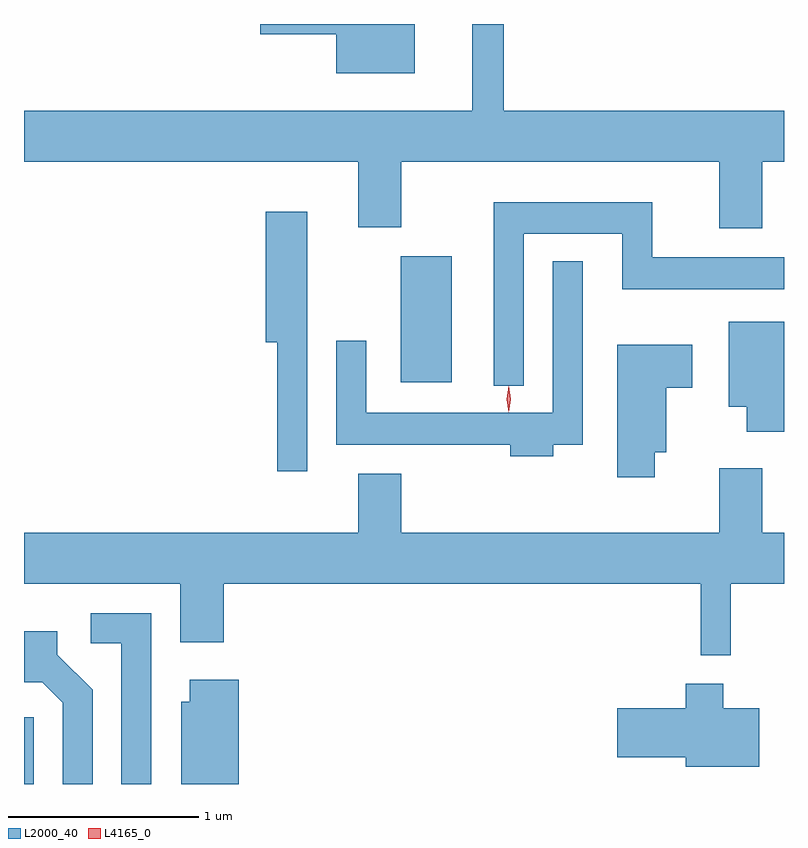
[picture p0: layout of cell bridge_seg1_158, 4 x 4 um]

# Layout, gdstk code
import gdstk
lib = gdstk.Library(unit=1e-6, precision=1e-09)
def R(c, l, rs):  # rectangles x0, y0, x1, y1
    for r in rs: c.add(gdstk.rectangle(r[:2], r[2:], *l))
def P(c, l, *ps):  # polygons
    for p in ps: c.add(gdstk.Polygon(p, *l))
L2000_40 = (2000, 40)
L4165_0 = (4165, 0)

bridge_seg1_158 = lib.new_cell('bridge_seg1_158')
R(bridge_seg1_158, L2000_40, [(801.953,929.601,802.004,929.953), (803.936,931.716,804.204,932.379)])
P(bridge_seg1_158, L2000_40, [(805.839,932.876),(805.953,932.876),(805.953,933.144),(804.479,933.144),(804.479,933.601),(804.311,933.601),(804.311,933.144),(801.953,933.144),(801.953,932.876),(803.711,932.876),(803.711,932.531),(803.939,932.531),(803.939,932.876),(805.611,932.876),(805.611,932.526),(805.839,932.526)],
  [(804.009,933.601),(803.196,933.601),(803.196,933.546),(803.596,933.546),(803.596,933.341),(804.009,933.341)],
  [(804.584,932.496),(805.101,932.496),(805.101,932.206),(805.953,932.206),(805.953,932.374),(805.259,932.374),(805.259,932.664),(804.426,932.664),(804.426,931.698),(804.584,931.698)],
  [(803.444,932.614),(803.226,932.614),(803.226,931.926),(803.286,931.926),(803.286,931.248),(803.444,931.248)],
  [(804.739,931.386),(804.894,931.386),(804.894,932.353),(804.736,932.353),(804.736,931.554),(803.754,931.554),(803.754,931.933),(803.596,931.933),(803.596,931.386),(804.511,931.386),(804.511,931.326),(804.739,931.326)],
  [(805.953,932.034),(805.661,932.034),(805.661,931.586),(805.756,931.586),(805.756,931.456),(805.953,931.456)],
  [(805.274,931.346),(805.334,931.346),(805.334,931.686),(805.469,931.686),(805.469,931.914),(805.076,931.914),(805.076,931.216),(805.274,931.216)],
  [(805.674,930.656),(805.953,930.656),(805.953,930.924),(805.839,930.924),(805.839,931.264),(805.611,931.264),(805.611,930.924),(803.939,930.924),(803.939,931.234),(803.711,931.234),(803.711,930.924),(801.953,930.924),(801.953,930.656),(802.776,930.656),(802.776,930.346),(803.004,930.346),(803.004,930.656),(805.516,930.656),(805.516,930.278),(805.674,930.278)],
  [(802.624,930.499),(802.303,930.499),(802.303,930.341),(802.466,930.341),(802.466,929.601),(802.624,929.601)],
  [(802.314,930.097),(802.129,930.282),(802.129,930.404),(801.953,930.404),(801.953,930.136),(802.049,930.136),(802.156,930.029),(802.156,929.601),(802.314,929.601)],
  [(803.084,930.149),(802.826,930.149),(802.826,930.034),(802.781,930.034),(802.781,929.601),(803.084,929.601)],
  [(805.824,929.999),(805.634,929.999),(805.634,930.129),(805.436,930.129),(805.436,929.999),(805.076,929.999),(805.076,929.741),(805.436,929.741),(805.436,929.691),(805.824,929.691)])
P(bridge_seg1_158, L4165_0, [(804.503,931.557),(804.494,931.626),(804.503,931.696),(804.504,931.696),(804.504,931.696),(804.514,931.626),(804.504,931.557),(804.504,931.557)],
  [(804.504,931.559),(804.504,931.56),(804.494,931.626),(804.504,931.692),(804.504,931.693),(804.505,931.692),(804.514,931.626),(804.505,931.56)])

lib.write_gds('bridge_seg1_158.gds')
